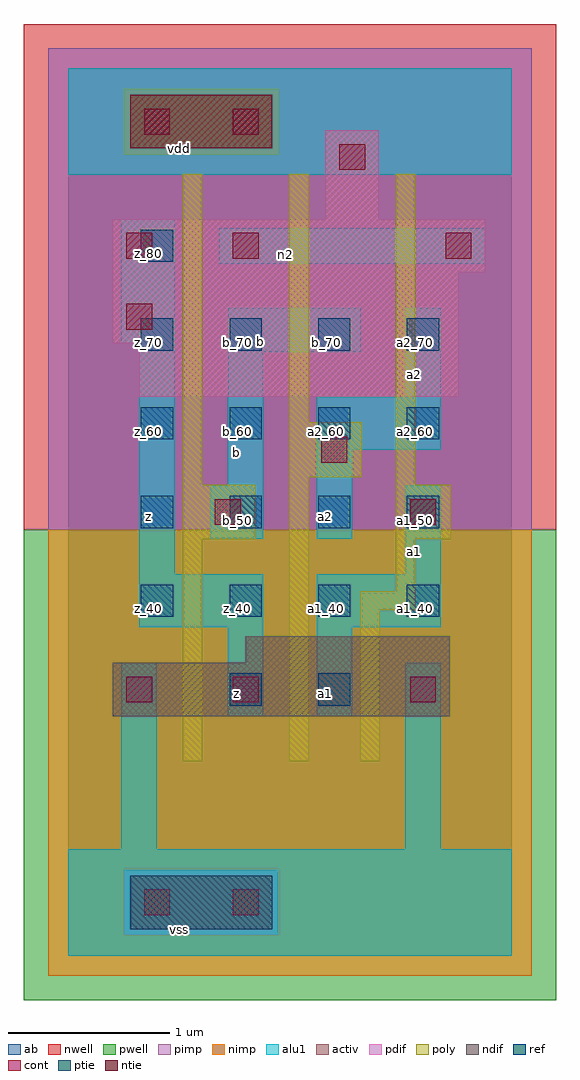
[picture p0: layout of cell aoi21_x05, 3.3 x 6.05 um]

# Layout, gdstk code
import gdstk
lib = gdstk.Library(unit=1e-6, precision=2.5e-09)
def R(c, l, rs):  # rectangles x0, y0, x1, y1
    for r in rs: c.add(gdstk.rectangle(r[:2], r[2:], *l))
def A(c, l, x, y, w, h, nx, ny, dx, dy):  # array of equal rectangles
    R(c, l, [(x+i*dx, y+j*dy, x+i*dx+w, y+j*dy+h) for i in range(nx) for j in range(ny)])
ndif = (3, 0)
pdif = (4, 0)
ntie = (5, 0)
ptie = (6, 0)
ref = (24, 0)
cont = (25, 0)
pwell = (41, 0)
nwell = (42, 0)
activ = (43, 0)
pimp = (44, 0)
nimp = (45, 0)
poly = (46, 0)
alu1 = (49, 0)
ab = (63, 0)

aoi21_x05 = lib.new_cell('aoi21_x05')
R(aoi21_x05, ndif, [(0.275,1.485,2.365,1.815), (1.1,1.815,2.365,1.98)])
R(aoi21_x05, pdif, [(0.44,3.465,2.42,3.795), (0.275,3.795,2.42,4.235), (0.275,4.235,2.585,4.565), (1.595,4.565,1.925,5.115)])
R(aoi21_x05, ntie, [(0.385,5.005,1.265,5.335)])
R(aoi21_x05, ptie, [(0.385,0.165,1.265,0.495)])
A(aoi21_x05, ref, 0.45, 2.1, 0.2, 0.2, 4, 4, 0.55, 0.55)
R(aoi21_x05, ref, [(1,1.55,1.2,1.75), (1.55,1.55,1.75,1.75), (0.45,4.3,0.65,4.5)])
R(aoi21_x05, cont, [(0.47,0.25,0.63,0.41), (1.02,0.25,1.18,0.41), (0.36,1.57,0.52,1.73), (1.02,1.57,1.18,1.73), (2.12,1.57,2.28,1.73), (0.91,2.67,1.07,2.83), (2.12,2.67,2.28,2.83), (1.57,3.055,1.73,3.215), (0.36,3.88,0.52,4.04), (0.36,4.32,0.52,4.48), (1.02,4.32,1.18,4.48), (2.34,4.32,2.5,4.48), (1.68,4.87,1.84,5.03), (0.47,5.09,0.63,5.25), (1.02,5.09,1.18,5.25)])
R(aoi21_x05, pwell, [(-0.275,-0.275,3.025,2.64)])
R(aoi21_x05, nwell, [(-0.275,2.64,3.025,5.775)])
R(aoi21_x05, activ, [(0.385,0.165,1.265,0.495), (0.275,1.485,2.365,1.815), (1.1,1.815,2.365,1.98), (0.44,3.465,2.42,3.795), (0.275,3.795,2.42,4.235), (0.275,4.235,2.585,4.565), (1.595,4.565,1.925,5.115), (0.385,5.005,1.265,5.335)])
R(aoi21_x05, pimp, [(0.345,0.125,1.305,0.535), (-0.125,2.64,2.875,4.965), (-0.125,4.965,0.345,5.375), (1.305,4.965,2.875,5.375), (-0.125,5.375,2.875,5.625)])
R(aoi21_x05, nimp, [(-0.125,-0.125,2.875,0.125), (-0.125,0.125,0.345,0.535), (1.305,0.125,2.875,0.535), (-0.125,0.535,2.875,2.64), (0.345,4.965,1.305,5.375)])
R(aoi21_x05, poly, [(0.71,1.205,0.83,2.58), (1.37,1.205,1.49,2.965), (1.81,1.205,1.93,2.14), (1.81,2.14,2.15,2.26), (2.03,2.26,2.15,2.58), (0.71,2.58,1.16,2.92), (2.03,2.58,2.37,2.92), (0.71,2.92,0.83,4.845), (2.03,2.92,2.15,4.845), (1.37,2.965,1.82,3.305), (1.37,3.305,1.49,4.845)])
R(aoi21_x05, alu1, [(0,0,2.75,0.66), (0.33,0.66,0.55,1.815), (2.09,0.66,2.31,1.815), (0.99,1.485,1.21,2.035), (1.54,1.485,1.76,2.035), (0.44,2.035,1.21,2.365), (1.54,2.035,2.31,2.365), (0.44,2.365,0.66,3.795), (2.09,2.365,2.31,2.915), (0.88,2.585,1.21,2.915), (1.54,2.585,1.76,3.135), (0.99,2.915,1.21,3.74), (1.54,3.135,2.31,3.465), (2.09,3.465,2.31,4.015), (0.99,3.74,1.815,4.015), (0.33,3.795,0.66,4.565), (0.935,4.29,2.585,4.51), (0,4.84,2.75,5.5)])
R(aoi21_x05, ab, [(0,0,2.75,5.5)])
aoi21_x05.add(gdstk.Label('vss', (0.6875,0.165), layer=49, texttype=0))
aoi21_x05.add(gdstk.Label('a1', (1.595,1.6225), layer=49, texttype=0))
aoi21_x05.add(gdstk.Label('z', (1.045,1.6225), layer=49, texttype=0))
aoi21_x05.add(gdstk.Label('a1', (2.145,2.5025), layer=49, texttype=0))
aoi21_x05.add(gdstk.Label('a2', (1.595,2.7225), layer=49, texttype=0))
aoi21_x05.add(gdstk.Label('a2', (2.145,3.6025), layer=49, texttype=0))
aoi21_x05.add(gdstk.Label('b', (1.045,3.12), layer=49, texttype=0))
aoi21_x05.add(gdstk.Label('b', (1.195,3.8075), layer=49, texttype=0))
aoi21_x05.add(gdstk.Label('z', (0.495,2.7225), layer=49, texttype=0))
aoi21_x05.add(gdstk.Label('n2', (1.3475,4.345), layer=49, texttype=0))
aoi21_x05.add(gdstk.Label('vdd', (0.6875,5.005), layer=49, texttype=0))
aoi21_x05.add(gdstk.Label('a2_70', (2.15,3.8), layer=24, texttype=0))
aoi21_x05.add(gdstk.Label('a1_40', (1.6,2.15), layer=24, texttype=0))
aoi21_x05.add(gdstk.Label('a1_50', (2.15,2.7), layer=24, texttype=0))
aoi21_x05.add(gdstk.Label('a2_60', (2.15,3.25), layer=24, texttype=0))
aoi21_x05.add(gdstk.Label('a2_50', (1.6,2.7), layer=24, texttype=0))
aoi21_x05.add(gdstk.Label('b_70', (1.6,3.8), layer=24, texttype=0))
aoi21_x05.add(gdstk.Label('b_60', (1.05,3.25), layer=24, texttype=0))
aoi21_x05.add(gdstk.Label('b_50', (1.05,2.7), layer=24, texttype=0))
aoi21_x05.add(gdstk.Label('z_40', (0.5,2.15), layer=24, texttype=0))
aoi21_x05.add(gdstk.Label('z_50', (0.5,2.7), layer=24, texttype=0))
aoi21_x05.add(gdstk.Label('z_60', (0.5,3.25), layer=24, texttype=0))
aoi21_x05.add(gdstk.Label('z_70', (0.5,3.8), layer=24, texttype=0))
aoi21_x05.add(gdstk.Label('z_80', (0.5,4.35), layer=24, texttype=0))
aoi21_x05.add(gdstk.Label('z_30', (1.05,1.6), layer=24, texttype=0))
aoi21_x05.add(gdstk.Label('a1_40', (2.15,2.15), layer=24, texttype=0))
aoi21_x05.add(gdstk.Label('z_40', (1.05,2.15), layer=24, texttype=0))
aoi21_x05.add(gdstk.Label('a1_30', (1.6,1.6), layer=24, texttype=0))
aoi21_x05.add(gdstk.Label('a2_60', (1.6,3.25), layer=24, texttype=0))
aoi21_x05.add(gdstk.Label('b_70', (1.05,3.8), layer=24, texttype=0))

lib.write_gds('aoi21_x05.gds')
